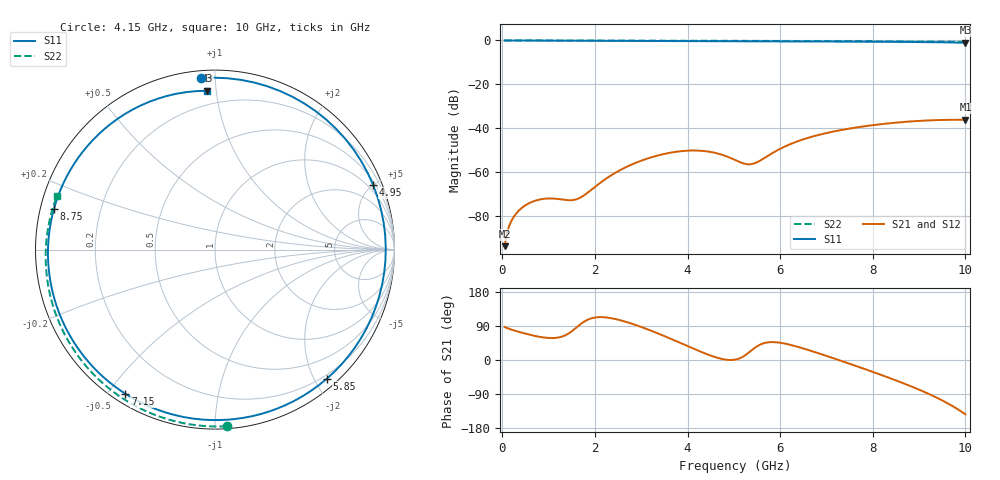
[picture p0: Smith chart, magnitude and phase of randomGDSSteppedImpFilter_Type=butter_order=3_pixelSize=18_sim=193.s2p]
! freq	dB(S11)	phase(S11)	dB(S12)	phase(S12)
!  dB(S21)	phase(S21)	dB(S22)	phase(S22)
!S-par simulation data
#  GHz  S  DB  R 50
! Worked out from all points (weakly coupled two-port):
!   200 points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, 50 MHz to 10 GHz, reference 50 ohm
!   highest |S21| = -36.06 dB at 10 GHz (marker M1); lowest = -93.6 dB at 50 MHz (marker M2)
!   lowest |S11| = -1.1 dB at 10 GHz (marker M3), VSWR 16.52, Z = 5.75 + j47.3 ohm
!   |S11| at or under -10 dB: nowhere
!   |S22| runs from -0.6 to 0.0 dB; largest |S21 - S12| = 0
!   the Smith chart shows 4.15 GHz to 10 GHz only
!   S11 on the Smith chart (normalised r, x): 4.15 GHz: 0.04, +0.92; 4.95 GHz: 0.65, +4.99; 5.85 GHz: 0.14, -2.18; 7.15 GHz: 0.04, -0.56; 8.75 GHz: 0.04, +0.12; 10 GHz: 0.12, +0.95
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0.05  -0.00 -3.0  -93.59 87.1  -93.59 87.1  -0.00 -1.1
0.25  -0.01 -14.8  -80.17 78.1  -80.17 78.1  -0.00 -5.5
0.95  -0.07 -55.7  -71.95 58.7  -71.95 58.7  -0.03 -20.8
1.75  -0.13 -101.5  -70.68 99.8  -70.68 99.8  -0.05 -37.9
2.2  -0.16 -127.5  -63.47 112.8  -63.47 112.8  -0.06 -47.3
2.7  -0.20 -157.7  -57.35 99.6  -57.35 99.6  -0.07 -57.6
3.4  -0.27 155.2  -52.11 68.2  -52.11 68.2  -0.10 -71.6
3.8  -0.32 124.3  -50.52 47.5  -50.52 47.5  -0.11 -79.5
4.15  -0.37 94.7  -50.07 28.9  -50.07 28.9  -0.12 -86.2
4.5  -0.40 63.2  -50.73 11.7  -50.73 11.7  -0.13 -92.9
4.95  -0.43 22.3  -53.66 0.0  -53.66 0.0  -0.15 -101.3
5.05  -0.43 13.5  -54.60 1.5  -54.60 1.5  -0.16 -103.2
5.4  -0.43 -15.8  -56.18 27.2  -56.18 27.2  -0.18 -109.7
5.85  -0.43 -49.1  -51.03 47.2  -51.03 47.2  -0.20 -117.9
6.25  -0.44 -74.6  -46.90 39.1  -46.90 39.1  -0.23 -125.2
6.7  -0.45 -99.6  -43.71 22.8  -43.71 22.8  -0.26 -133.4
7.15  -0.48 -121.9  -41.44 4.7  -41.44 4.7  -0.30 -141.7
7.75  -0.54 -149.2  -39.25 -20.5  -39.25 -20.5  -0.35 -152.8
8.35  -0.61 -175.7  -37.70 -46.9  -37.70 -46.9  -0.42 -164.2
8.75  -0.67 165.9  -36.95 -65.7  -36.95 -65.7  -0.46 -172.1
9.4  -0.81 132.3  -36.22 -100.5  -36.22 -100.5  -0.55 174.5
10  -1.05 92.8  -36.06 -143.5  -36.06 -143.5  -0.63 161.4
